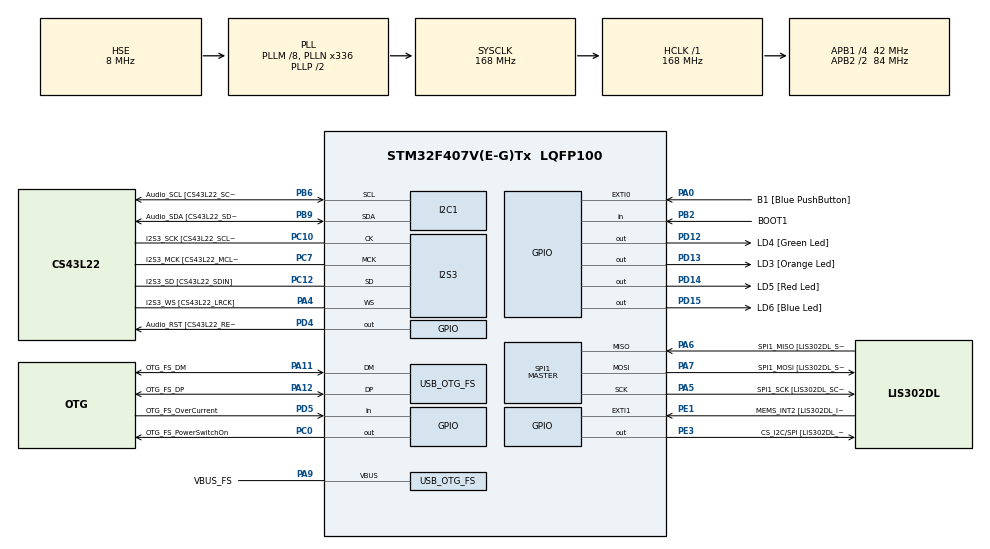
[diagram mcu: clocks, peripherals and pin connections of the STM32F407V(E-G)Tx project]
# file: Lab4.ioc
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I2S3.AudioFreq-Half_Duplex_Master=I2S_AUDIOFREQ_96K
I2S3.ErrorAudioFreq=-2.34 %
I2S3.ErrorAudioFreq-Half_Duplex_Master=0.8 %
I2S3.FullDuplexMode=I2S_FULLDUPLEXMODE_DISABLE
I2S3.Instance=SPI$Index
I2S3.RealAudioFreq=93.75 KHz
I2S3.RealAudioFreq-Half_Duplex_Master=96.774 KHz
I2S3.VirtualMode=I2S_MODE_MASTER
Mcu.Family=STM32F4
Mcu.Name=STM32F407V(E-G)Tx
Mcu.Package=LQFP100
NVIC.OTG_FS_IRQn=true\:0\:0\:false\:false\:true\:true\:true\:true
NVIC.PriorityGroup=NVIC_PRIORITYGROUP_0
PA0-WKUP.GPIO_Label=B1 [Blue PushButton]
PA0-WKUP.GPIO_ModeDefaultEXTI=GPIO_MODE_EVT_RISING
PA0-WKUP.GPIO_PuPd=GPIO_NOPULL
PA0-WKUP.Signal=GPXTI0
PA10.GPIO_Label=OTG_FS_ID
PA10.GPIO_Mode=GPIO_MODE_AF_PP
PA10.GPIO_PuPd=GPIO_NOPULL
PA10.GPIO_Speed=GPIO_SPEED_FREQ_LOW
PA10.Signal=USB_OTG_FS_ID
PA11.GPIO_Label=OTG_FS_DM
PA11.GPIO_Mode=GPIO_MODE_AF_PP
PA11.GPIO_PuPd=GPIO_NOPULL
PA11.GPIO_Speed=GPIO_SPEED_FREQ_LOW
PA11.Mode=Host_Only
PA11.Signal=USB_OTG_FS_DM
PA12.GPIO_Label=OTG_FS_DP
PA12.GPIO_Mode=GPIO_MODE_AF_PP
PA12.GPIO_PuPd=GPIO_NOPULL
PA12.GPIO_Speed=GPIO_SPEED_FREQ_LOW
PA12.Mode=Host_Only
PA12.Signal=USB_OTG_FS_DP
PA13.GPIO_Label=SWDIO
PA13.Mode=Serial_Wire
PA13.Signal=SYS_JTMS-SWDIO
PA14.GPIO_Label=SWCLK
PA14.Mode=Serial_Wire
PA14.Signal=SYS_JTCK-SWCLK
PA4.GPIO_Label=I2S3_WS [CS43L22_LRCK]
PA4.GPIO_Mode=GPIO_MODE_AF_PP
PA4.GPIO_PuPd=GPIO_NOPULL
PA4.GPIO_Speed=GPIO_SPEED_FREQ_LOW
PA4.Mode=Half_Duplex_Master
PA4.Signal=I2S3_WS
PA5.GPIO_Label=SPI1_SCK [LIS302DL_SCL/SPC]
PA5.GPIO_Mode=GPIO_MODE_AF_PP
PA5.GPIO_PuPd=GPIO_NOPULL
PA5.GPIO_Speed=GPIO_SPEED_FREQ_LOW
PA5.Mode=Full_Duplex_Master
PA5.Signal=SPI1_SCK
PA6.GPIO_Label=SPI1_MISO [LIS302DL_SDO]
PA6.GPIO_Mode=GPIO_MODE_AF_PP
PA6.GPIO_PuPd=GPIO_NOPULL
PA6.GPIO_Speed=GPIO_SPEED_FREQ_LOW
PA6.Mode=Full_Duplex_Master
PA6.Signal=SPI1_MISO
PA7.GPIO_Label=SPI1_MOSI [LIS302DL_SDA/SDI/SDO]
PA7.GPIO_Mode=GPIO_MODE_AF_PP
PA7.GPIO_PuPd=GPIO_NOPULL
PA7.GPIO_Speed=GPIO_SPEED_FREQ_LOW
PA7.Mode=Full_Duplex_Master
PA7.Signal=SPI1_MOSI
PA9.GPIO_Label=VBUS_FS
PA9.GPIO_Mode=GPIO_MODE_INPUT
PA9.GPIO_PuPd=GPIO_NOPULL
PA9.Mode=Activate_VBUS
PA9.Signal=USB_OTG_FS_VBUS
PB10.GPIO_Label=CLK_IN [MP45DT02_CLK]
PB10.GPIO_Mode=GPIO_MODE_AF_PP
PB10.GPIO_PuPd=GPIO_NOPULL
PB10.GPIO_Speed=GPIO_SPEED_FREQ_LOW
PB10.Signal=I2S2_CK
PB2.GPIO_Label=BOOT1
PB2.GPIO_Mode=GPIO_MODE_INPUT
PB2.GPIO_PuPd=GPIO_NOPULL
PB2.Signal=GPIO_Input
PB3.GPIO_Label=SWO
PB3.Signal=SYS_JTDO-SWO
PB6.GPIO_Label=Audio_SCL [CS43L22_SCL]
PB6.GPIO_Mode=GPIO_MODE_AF_OD
PB6.GPIO_Pu=GPIO_PULLUP
PB6.GPIO_PuPd=GPIO_NOPULL
PB6.GPIO_Speed=GPIO_SPEED_FREQ_LOW
PB6.Mode=I2C
PB6.Signal=I2C1_SCL
PB9.GPIO_Label=Audio_SDA [CS43L22_SDA]
PB9.GPIO_Mode=GPIO_MODE_AF_OD
PB9.GPIO_Pu=GPIO_PULLUP
PB9.GPIO_PuPd=GPIO_NOPULL
PB9.GPIO_Speed=GPIO_SPEED_FREQ_LOW
PB9.Mode=I2C
PB9.Signal=I2C1_SDA
PC0.GPIO_Label=OTG_FS_PowerSwitchOn
PC0.GPIO_PuPd=GPIO_NOPULL
PC0.GPIO_Speed=GPIO_SPEED_FREQ_LOW
PC0.PinState=GPIO_PIN_SET
PC0.Signal=GPIO_Output
PC10.GPIO_Label=I2S3_SCK [CS43L22_SCLK]
PC10.GPIO_Mode=GPIO_MODE_AF_PP
PC10.GPIO_PuPd=GPIO_NOPULL
PC10.GPIO_Speed=GPIO_SPEED_FREQ_LOW
PC10.Mode=Half_Duplex_Master
PC10.Signal=I2S3_CK
PC12.GPIO_Label=I2S3_SD [CS43L22_SDIN]
PC12.GPIO_Mode=GPIO_MODE_AF_PP
PC12.GPIO_PuPd=GPIO_NOPULL
PC12.GPIO_Speed=GPIO_SPEED_FREQ_LOW
PC12.Mode=Half_Duplex_Master
PC12.Signal=I2S3_SD
PC14-OSC32_IN.GPIO_Label=PC14-OSC32_IN
PC14-OSC32_IN.Mode=LSE-External-Oscillator
PC14-OSC32_IN.Signal=RCC_OSC32_IN
PC15-OSC32_OUT.GPIO_Label=PC15-OSC32_OUT
PC15-OSC32_OUT.Mode=LSE-External-Oscillator
PC15-OSC32_OUT.Signal=RCC_OSC32_OUT
PC3.GPIO_Label=PDM_OUT [MP45DT02_DOUT]
PC3.GPIO_Mode=GPIO_MODE_AF_PP
PC3.GPIO_PuPd=GPIO_NOPULL
PC3.GPIO_Speed=GPIO_SPEED_FREQ_LOW
PC3.Signal=I2S2_SD
PC7.GPIO_Label=I2S3_MCK [CS43L22_MCLK]
PC7.GPIO_Mode=GPIO_MODE_AF_PP
PC7.GPIO_PuPd=GPIO_NOPULL
PC7.GPIO_Speed=GPIO_SPEED_FREQ_LOW
PC7.Mode=Master_Clock_Activated
PC7.Signal=I2S3_MCK
PD12.GPIO_Label=LD4 [Green Led]
PD12.GPIO_PuPd=GPIO_NOPULL
PD12.GPIO_Speed=GPIO_SPEED_FREQ_LOW
PD12.Signal=GPIO_Output
PD13.GPIO_Label=LD3 [Orange Led]
PD13.GPIO_PuPd=GPIO_NOPULL
PD13.GPIO_Speed=GPIO_SPEED_FREQ_LOW
PD13.Signal=GPIO_Output
PD14.GPIO_Label=LD5 [Red Led]
PD14.GPIO_PuPd=GPIO_NOPULL
PD14.GPIO_Speed=GPIO_SPEED_FREQ_LOW
PD14.Signal=GPIO_Output
PD15.GPIO_Label=LD6 [Blue Led]
PD15.GPIO_PuPd=GPIO_NOPULL
PD15.GPIO_Speed=GPIO_SPEED_FREQ_LOW
PD15.Signal=GPIO_Output
PD4.GPIO_Label=Audio_RST [CS43L22_RESET]
PD4.GPIO_PuPd=GPIO_NOPULL
PD4.GPIO_Speed=GPIO_SPEED_FREQ_LOW
PD4.Signal=GPIO_Output
PD5.GPIO_Label=OTG_FS_OverCurrent
PD5.GPIO_Mode=GPIO_MODE_INPUT
PD5.GPIO_PuPd=GPIO_NOPULL
PD5.Signal=GPIO_Input
PE1.GPIO_Label=MEMS_INT2 [LIS302DL_INT2]
PE1.GPIO_ModeDefaultEXTI=GPIO_MODE_EVT_RISING
PE1.GPIO_PuPd=GPIO_NOPULL
PE1.Signal=GPXTI1
PE3.GPIO_Label=CS_I2C/SPI [LIS302DL_CS_I2C/SPI]
PE3.GPIO_PuPd=GPIO_NOPULL
PE3.GPIO_Speed=GPIO_SPEED_FREQ_LOW
PE3.Signal=GPIO_Output
PH0-OSC_IN.GPIO_Label=PH0-OSC_IN
PH0-OSC_IN.Mode=HSE-External-Oscillator
PH0-OSC_IN.Signal=RCC_OSC_IN
PH1-OSC_OUT.GPIO_Label=PH1-OSC_OUT
PH1-OSC_OUT.Mode=HSE-External-Oscillator
PH1-OSC_OUT.Signal=RCC_OSC_OUT
ProjectManager.HeapSize=0x200
ProjectManager.StackSize=0x400
ProjectManager.TargetToolchain=STM32CubeIDE
RCC.48MHZClocksFreq_Value=48000000
RCC.AHBFreq_Value=168000000
RCC.APB1CLKDivider=RCC_HCLK_DIV4
RCC.APB1Freq_Value=42000000
RCC.APB1TimFreq_Value=84000000
RCC.APB2CLKDivider=RCC_HCLK_DIV2
RCC.APB2Freq_Value=84000000
RCC.APB2TimFreq_Value=168000000
RCC.CortexFreq_Value=168000000
RCC.HCLKFreq_Value=168000000
RCC.HSE_VALUE=8000000
RCC.HSI_VALUE=16000000
RCC.PLLM=8
RCC.PLLN=336
RCC.PLLQ=7
RCC.SYSCLKFreq_VALUE=168000000
RCC.SYSCLKSource=RCC_SYSCLKSOURCE_PLLCLK
RCC.VCOOutputFreq_Value=336000000
SPI1.BaudRatePrescaler-Full_Duplex_Master=SPI_BAUDRATEPRESCALER_2
SPI1.CalculateBaudRate-Full_Duplex_Master=42.0 MBits/s
SPI1.Direction=SPI_DIRECTION_2LINES
SPI1.Mode=SPI_MODE_MASTER
SPI1.Mode-Full_Duplex_Master=SPI_MODE_MASTER
SPI1.VirtualType=VM_MASTER
USB_HOST.BSP.number=1
USB_HOST.USBH_HandleTypeDef-CDC_FS=hUsbHostFS
USB_HOST.VirtualModeFS=Cdc
USB_HOST0.BSP.STBoard=false
USB_HOST0.BSP.api=Unknown
USB_HOST0.BSP.instance=PC0
USB_HOST0.BSP.ip=GPIO
USB_HOST0.BSP.mode=Output
USB_HOST0.BSP.name=Drive_VBUS_FS
USB_HOST0.BSP.solution=PC0
USB_OTG_FS.VirtualMode=Host_Only
USB_OTG_FS.phy_itface=HCD_PHY_EMBEDDED
VP_USB_HOST_VS_USB_HOST_CDC_FS.Mode=CDC_FS
board=STM32F407G-DISC1

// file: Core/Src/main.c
/* USER CODE BEGIN Header */
/**
  ******************************************************************************
  * @file           : main.c
  * @brief          : Main program body
  ******************************************************************************
  * @attention
  *
  * Copyright (c) 2023 STMicroelectronics.
  * All rights reserved.
  *
  * This software is licensed under terms that can be found in the LICENSE file
  * in the root directory of this software component.
  * If no LICENSE file comes with this software, it is provided AS-IS.
  *
  ******************************************************************************
  */
/* USER CODE END Header */
#include "main.h"
#include "usb_host.h"

/* USER CODE BEGIN Includes */
#include <stdlib.h>
/* USER CODE END Includes */

/* USER CODE BEGIN PD */
#define WHO_AM_I 			0x0F
#define CTRL_REG4			0x20
#define READ_COMMAND 		0x80
#define WRITE_COMMAND		0x00
#define MULTIBYTE_COMMAND 	0x40
#define FIRST_8_SDO			0x00
#define OUT_X_L				0x28
#define OUT_X_H				0x29
#define OUT_Y_L				0x2A
#define OUT_Y_H				0x2B
#define OUT_Z_L				0x2C
#define OUT_Z_H				0x2D

#define sens_0_06			0.06
#define sens_0_73			0.73
/* USER CODE END PD */

I2C_HandleTypeDef hi2c1;

I2S_HandleTypeDef hi2s3;

SPI_HandleTypeDef hspi1;

void SystemClock_Config(void);
static void MX_GPIO_Init(void);
static void MX_I2C1_Init(void);
static void MX_I2S3_Init(void);
static void MX_SPI1_Init(void);
void MX_USB_HOST_Process(void);

/* USER CODE BEGIN PFP */
static uint8_t SPI1_WriteRead(uint8_t pTxData);
void ACCELERO_IO_Read(uint8_t* pRxData, uint8_t u8Addr, uint16_t dataSize);
void ACCELERO_IO_Write(uint8_t *pTxData, uint8_t u8Addr, uint16_t dataSize);
void ACCELERO_Init();
void ACCELERO_GetXYZ(int16_t *pData);
static void setLedPWM(int16_t *pData, uint8_t* pwmVals);
/* USER CODE END PFP */

/* USER CODE BEGIN 0 */

int16_t pData[3] = {0};
uint8_t pwmVals[2] = {0};
int16_t offsetX = 0;
int16_t offsetY = 0;
int16_t offsetZ = 0;

static uint8_t SPI1_WriteRead(uint8_t pTxData) {

	// Initalize variables
	uint8_t pRxData = 0;
	uint16_t txSize = 1;

	// Transmit and receive data from LIS3DSH accelerometer
	if (HAL_SPI_TransmitReceive(&hspi1, (uint8_t *)&pTxData, (uint8_t *)&pRxData, txSize, HAL_MAX_DELAY) != HAL_OK) {
		HAL_SPI_DeInit(&hspi1);
		HAL_SPI_Init(&hspi1);
	}

	return pRxData;

}

void ACCELERO_IO_Read(uint8_t* pRxData, uint8_t u8Addr, uint16_t dataSize){

	uint8_t pTxData = READ_COMMAND | u8Addr;		// SET Read bit, MS bit, and Address

	HAL_GPIO_WritePin(CS_I2C_SPI_GPIO_Port, CS_I2C_SPI_Pin, GPIO_PIN_RESET);	//set CS low

	// Transmit read command and address of read location
	SPI1_WriteRead(pTxData);

	/* Receive the data that will be read from the device (MSB First) */
	while (dataSize > 0x00){
		*pRxData = SPI1_WriteRead(FIRST_8_SDO);
		dataSize--;
		pRxData++;
	}

	HAL_GPIO_WritePin(CS_I2C_SPI_GPIO_Port, CS_I2C_SPI_Pin, GPIO_PIN_SET); 		//set CS high
}

void ACCELERO_IO_Write(uint8_t *pTxData, uint8_t u8Addr, uint16_t dataSize){

	HAL_GPIO_WritePin(CS_I2C_SPI_GPIO_Port, CS_I2C_SPI_Pin, GPIO_PIN_RESET); 	//set CS low

	// Transmit write command and address of write location
	SPI1_WriteRead(u8Addr);

	/* Receive the data that will be read from the device (MSB First) */
	while(dataSize >= 0x01){
		SPI1_WriteRead(*pTxData);
		dataSize--;
		pTxData++;
	}

	HAL_GPIO_WritePin(CS_I2C_SPI_GPIO_Port, CS_I2C_SPI_Pin, GPIO_PIN_SET); 		//set CS high
}

void ACCELERO_Init(){

	uint8_t regWHO = 0x00;
	uint8_t ctrl = 0x67;

	/* Read WHO_AM_I register */
	ACCELERO_IO_Read(&regWHO, WHO_AM_I, 1);

	/* Configure MEMS: power mode(ODR) and axes enable */
	ACCELERO_IO_Write(&ctrl, CTRL_REG4, 1);

	/* Calibration of values read */
	ACCELERO_GetXYZ(pData);
	offsetX = pData[0] * -1;
	offsetY = pData[1] * -1;
	offsetZ = (pData[2] - 1000) * -1;
}

void ACCELERO_GetXYZ(int16_t *pData){

	// Initialize Variables
	int8_t pRxData[6];
	float sensitivity = sens_0_06;
	float value = 0;

	// Read from all high and low output registers
	ACCELERO_IO_Read((uint8_t *)&pRxData[0], OUT_X_L, 1);
	ACCELERO_IO_Read((uint8_t *)&pRxData[1], OUT_X_H, 1);
	ACCELERO_IO_Read((uint8_t *)&pRxData[2], OUT_Y_L, 1);
	ACCELERO_IO_Read((uint8_t *)&pRxData[3], OUT_Y_H, 1);
	ACCELERO_IO_Read((uint8_t *)&pRxData[4], OUT_Z_L, 1);
	ACCELERO_IO_Read((uint8_t *)&pRxData[5], OUT_Z_H, 1);

	// Scale output accelerometer values base don sensitivity of system
	for(int i = 0; i < 3; i++){
		int16_t offset = (i == 0) ? offsetX : (i == 1) ? offsetY : (i == 2) ? offsetZ : 0;
		value = ((pRxData[2*i+1] << 8) + pRxData[2*i]) * sensitivity;
		pData[i] = (int16_t)value + offset;
	}

}

static void setLedPWM(int16_t *pData, uint8_t* pwmVals) {

	// Calculate the PWM values
	int16_t rollPWM = abs(pData[0]) / 10;
    int16_t pitchPWM = abs(pData[1]) / 10;

    pwmVals[0] = (rollPWM > 100) ? 100 : rollPWM;
    pwmVals[1] = (pitchPWM > 100) ? 100 : pitchPWM;
}

/* USER CODE END 0 */

int main(void)
{

  /* MCU Configuration--------------------------------------------------------*/

  /* Reset of all peripherals, Initializes the Flash interface and the Systick. */
  HAL_Init();

  /* Configure the system clock */
  SystemClock_Config();

  /* Initialize all configured peripherals */
  MX_GPIO_Init();
  MX_I2C1_Init();
  MX_I2S3_Init();
  MX_SPI1_Init();
  MX_USB_HOST_Init();
  /* USER CODE BEGIN 2 */
  ACCELERO_Init();

  /* USER CODE END 2 */

  /* Infinite loop */
  while (1)
  {
    MX_USB_HOST_Process();

    /* USER CODE BEGIN 3 */

    ACCELERO_GetXYZ(pData);
    setLedPWM(pData, pwmVals);
  }
  /* USER CODE END 3 */
}

void SystemClock_Config(void)
{
  RCC_OscInitTypeDef RCC_OscInitStruct = {0};
  RCC_ClkInitTypeDef RCC_ClkInitStruct = {0};

  /** Configure the main internal regulator output voltage
  */
  __HAL_RCC_PWR_CLK_ENABLE();
  __HAL_PWR_VOLTAGESCALING_CONFIG(PWR_REGULATOR_VOLTAGE_SCALE1);

  /** Initializes the RCC Oscillators according to the specified parameters
  * in the RCC_OscInitTypeDef structure.
  */
  RCC_OscInitStruct.OscillatorType = RCC_OSCILLATORTYPE_HSE;
  RCC_OscInitStruct.HSEState = RCC_HSE_ON;
  RCC_OscInitStruct.PLL.PLLState = RCC_PLL_ON;
  RCC_OscInitStruct.PLL.PLLSource = RCC_PLLSOURCE_HSE;
  RCC_OscInitStruct.PLL.PLLM = 8;
  RCC_OscInitStruct.PLL.PLLN = 336;
  RCC_OscInitStruct.PLL.PLLP = RCC_PLLP_DIV2;
  RCC_OscInitStruct.PLL.PLLQ = 7;
  if (HAL_RCC_OscConfig(&RCC_OscInitStruct) != HAL_OK)
  {
    Error_Handler();
  }

  /** Initializes the CPU, AHB and APB buses clocks
  */
  RCC_ClkInitStruct.ClockType = RCC_CLOCKTYPE_HCLK|RCC_CLOCKTYPE_SYSCLK
                              |RCC_CLOCKTYPE_PCLK1|RCC_CLOCKTYPE_PCLK2;
  RCC_ClkInitStruct.SYSCLKSource = RCC_SYSCLKSOURCE_PLLCLK;
  RCC_ClkInitStruct.AHBCLKDivider = RCC_SYSCLK_DIV1;
  RCC_ClkInitStruct.APB1CLKDivider = RCC_HCLK_DIV4;
  RCC_ClkInitStruct.APB2CLKDivider = RCC_HCLK_DIV2;

  if (HAL_RCC_ClockConfig(&RCC_ClkInitStruct, FLASH_LATENCY_5) != HAL_OK)
  {
    Error_Handler();
  }
}

static void MX_I2C1_Init(void)
{

  hi2c1.Instance = I2C1;
  hi2c1.Init.ClockSpeed = 100000;
  hi2c1.Init.DutyCycle = I2C_DUTYCYCLE_2;
  hi2c1.Init.OwnAddress1 = 0;
  hi2c1.Init.AddressingMode = I2C_ADDRESSINGMODE_7BIT;
  hi2c1.Init.DualAddressMode = I2C_DUALADDRESS_DISABLE;
  hi2c1.Init.OwnAddress2 = 0;
  hi2c1.Init.GeneralCallMode = I2C_GENERALCALL_DISABLE;
  hi2c1.Init.NoStretchMode = I2C_NOSTRETCH_DISABLE;
  if (HAL_I2C_Init(&hi2c1) != HAL_OK)
  {
    Error_Handler();
  }

}

static void MX_I2S3_Init(void)
{

  hi2s3.Instance = SPI3;
  hi2s3.Init.Mode = I2S_MODE_MASTER_TX;
  hi2s3.Init.Standard = I2S_STANDARD_PHILIPS;
  hi2s3.Init.DataFormat = I2S_DATAFORMAT_16B;
  hi2s3.Init.MCLKOutput = I2S_MCLKOUTPUT_ENABLE;
  hi2s3.Init.AudioFreq = I2S_AUDIOFREQ_96K;
  hi2s3.Init.CPOL = I2S_CPOL_LOW;
  hi2s3.Init.ClockSource = I2S_CLOCK_PLL;
  hi2s3.Init.FullDuplexMode = I2S_FULLDUPLEXMODE_DISABLE;
  if (HAL_I2S_Init(&hi2s3) != HAL_OK)
  {
    Error_Handler();
  }

}

static void MX_SPI1_Init(void)
{

  /* SPI1 parameter configuration*/
  hspi1.Instance = SPI1;
  hspi1.Init.Mode = SPI_MODE_MASTER;
  hspi1.Init.Direction = SPI_DIRECTION_2LINES;
  hspi1.Init.DataSize = SPI_DATASIZE_8BIT;
  hspi1.Init.CLKPolarity = SPI_POLARITY_LOW;
  hspi1.Init.CLKPhase = SPI_PHASE_1EDGE;
  hspi1.Init.NSS = SPI_NSS_SOFT;
  hspi1.Init.BaudRatePrescaler = SPI_BAUDRATEPRESCALER_16;
  hspi1.Init.FirstBit = SPI_FIRSTBIT_MSB;
  hspi1.Init.TIMode = SPI_TIMODE_DISABLE;
  hspi1.Init.CRCCalculation = SPI_CRCCALCULATION_DISABLE;
  hspi1.Init.CRCPolynomial = 7;
  if (HAL_SPI_Init(&hspi1) != HAL_OK)
  {
    Error_Handler();
  }

}

static void MX_GPIO_Init(void)
{
  GPIO_InitTypeDef GPIO_InitStruct = {0};

  /* GPIO Ports Clock Enable */
  __HAL_RCC_GPIOE_CLK_ENABLE();
  __HAL_RCC_GPIOC_CLK_ENABLE();
  __HAL_RCC_GPIOH_CLK_ENABLE();
  __HAL_RCC_GPIOA_CLK_ENABLE();
  __HAL_RCC_GPIOB_CLK_ENABLE();
  __HAL_RCC_GPIOD_CLK_ENABLE();

  /*Configure GPIO pin Output Level */
  HAL_GPIO_WritePin(CS_I2C_SPI_GPIO_Port, CS_I2C_SPI_Pin, GPIO_PIN_SET);

  /*Configure GPIO pin Output Level */
  HAL_GPIO_WritePin(OTG_FS_PowerSwitchOn_GPIO_Port, OTG_FS_PowerSwitchOn_Pin, GPIO_PIN_SET);

  /*Configure GPIO pin Output Level */
  HAL_GPIO_WritePin(GPIOD, LD4_Pin|LD3_Pin|LD5_Pin|LD6_Pin
                          |Audio_RST_Pin, GPIO_PIN_RESET);

  /*Configure GPIO pin : CS_I2C_SPI_Pin */
  GPIO_InitStruct.Pin = CS_I2C_SPI_Pin;
  GPIO_InitStruct.Mode = GPIO_MODE_OUTPUT_PP;
  GPIO_InitStruct.Pull = GPIO_NOPULL;
  GPIO_InitStruct.Speed = GPIO_SPEED_FREQ_LOW;
  HAL_GPIO_Init(CS_I2C_SPI_GPIO_Port, &GPIO_InitStruct);

  /*Configure GPIO pin : OTG_FS_PowerSwitchOn_Pin */
  GPIO_InitStruct.Pin = OTG_FS_PowerSwitchOn_Pin;
  GPIO_InitStruct.Mode = GPIO_MODE_OUTPUT_PP;
  GPIO_InitStruct.Pull = GPIO_NOPULL;
  GPIO_InitStruct.Speed = GPIO_SPEED_FREQ_LOW;
  HAL_GPIO_Init(OTG_FS_PowerSwitchOn_GPIO_Port, &GPIO_InitStruct);

  /*Configure GPIO pin : PDM_OUT_Pin */
  GPIO_InitStruct.Pin = PDM_OUT_Pin;
  GPIO_InitStruct.Mode = GPIO_MODE_AF_PP;
  GPIO_InitStruct.Pull = GPIO_NOPULL;
  GPIO_InitStruct.Speed = GPIO_SPEED_FREQ_LOW;
  GPIO_InitStruct.Alternate = GPIO_AF5_SPI2;
  HAL_GPIO_Init(PDM_OUT_GPIO_Port, &GPIO_InitStruct);

  /*Configure GPIO pin : B1_Pin */
  GPIO_InitStruct.Pin = B1_Pin;
  GPIO_InitStruct.Mode = GPIO_MODE_EVT_RISING;
  GPIO_InitStruct.Pull = GPIO_NOPULL;
  HAL_GPIO_Init(B1_GPIO_Port, &GPIO_InitStruct);

  /*Configure GPIO pin : BOOT1_Pin */
  GPIO_InitStruct.Pin = BOOT1_Pin;
  GPIO_InitStruct.Mode = GPIO_MODE_INPUT;
  GPIO_InitStruct.Pull = GPIO_NOPULL;
  HAL_GPIO_Init(BOOT1_GPIO_Port, &GPIO_InitStruct);

  /*Configure GPIO pin : CLK_IN_Pin */
  GPIO_InitStruct.Pin = CLK_IN_Pin;
  GPIO_InitStruct.Mode = GPIO_MODE_AF_PP;
  GPIO_InitStruct.Pull = GPIO_NOPULL;
  GPIO_InitStruct.Speed = GPIO_SPEED_FREQ_LOW;
  GPIO_InitStruct.Alternate = GPIO_AF5_SPI2;
  HAL_GPIO_Init(CLK_IN_GPIO_Port, &GPIO_InitStruct);

  /*Configure GPIO pins : LD4_Pin LD3_Pin LD5_Pin LD6_Pin
                           Audio_RST_Pin */
  GPIO_InitStruct.Pin = LD4_Pin|LD3_Pin|LD5_Pin|LD6_Pin
                          |Audio_RST_Pin;
  GPIO_InitStruct.Mode = GPIO_MODE_OUTPUT_PP;
  GPIO_InitStruct.Pull = GPIO_NOPULL;
  GPIO_InitStruct.Speed = GPIO_SPEED_FREQ_LOW;
  HAL_GPIO_Init(GPIOD, &GPIO_InitStruct);

  /*Configure GPIO pin : OTG_FS_OverCurrent_Pin */
  GPIO_InitStruct.Pin = OTG_FS_OverCurrent_Pin;
  GPIO_InitStruct.Mode = GPIO_MODE_INPUT;
  GPIO_InitStruct.Pull = GPIO_NOPULL;
  HAL_GPIO_Init(OTG_FS_OverCurrent_GPIO_Port, &GPIO_InitStruct);

  /*Configure GPIO pin : MEMS_INT2_Pin */
  GPIO_InitStruct.Pin = MEMS_INT2_Pin;
  GPIO_InitStruct.Mode = GPIO_MODE_EVT_RISING;
  GPIO_InitStruct.Pull = GPIO_NOPULL;
  HAL_GPIO_Init(MEMS_INT2_GPIO_Port, &GPIO_InitStruct);

}

void Error_Handler(void)
{
  __disable_irq();
  while (1)
  {
  }
}
